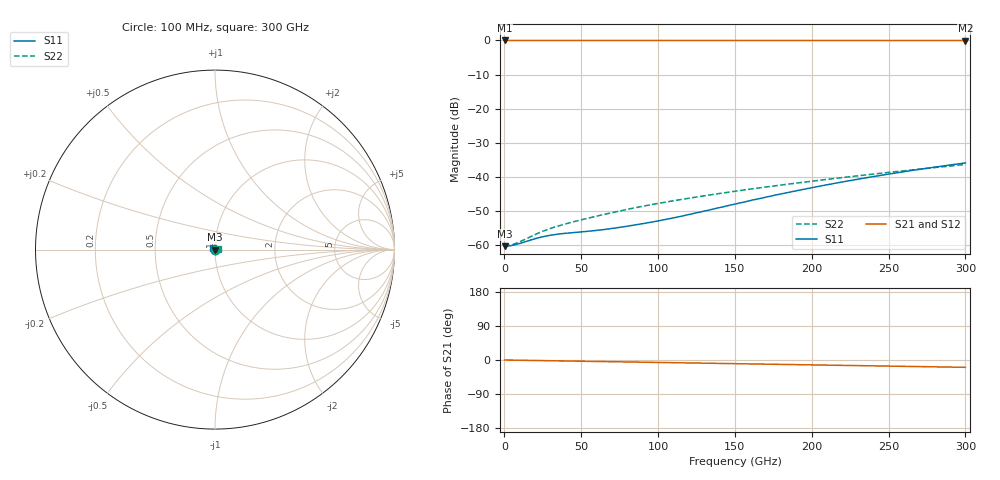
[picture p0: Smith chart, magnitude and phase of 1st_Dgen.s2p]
#  Hz  S  RI  R  50
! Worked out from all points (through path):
!   3000 points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, 100 MHz to 300 GHz, reference 50 ohm
!   highest |S21| = -0.01 dB at 200 MHz (marker M1); lowest = 0.0 dB at 300 GHz (marker M2)
!   group delay of S21, straight-line fit = 179 fs
!   lowest |S11| = -60.3 dB at 100 MHz (marker M3), VSWR 1.00, Z = 50.1 + j0.000377 ohm
!   |S11| at or under -10 dB: start of sweep to end of sweep
!   |S22| runs from -60.2 to -36.3 dB; largest |S21 - S12| = 0.00022
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1e8  0.00097 3.76e-06  0.999 -0.000114  0.999 -0.000114  0.000977 4.38e-06
2e8  0.00097 7.52e-06  0.999 -0.000229  0.999 -0.000229  0.000977 8.76e-06
3.5e9  0.000974 0.000131  0.999 -0.004  0.999 -0.004  0.000985 0.000153
7.1e9  0.000986 0.000262  0.999 -0.00812  0.999 -0.00812  0.00101 0.000306
1.04e10  0.001 0.000376  0.9989 -0.0119  0.9989 -0.0119  0.00105 0.00044
2.05e10  0.00106 0.000674  0.9986 -0.0233  0.9986 -0.0233  0.00122 0.000797
2.83e10  0.00109 0.000851  0.9982 -0.032  0.9982 -0.032  0.00138 0.00102
3.27e10  0.00109 0.000937  0.998 -0.0369  0.998 -0.037  0.00146 0.00113
3.76e10  0.00107 0.00103  0.9978 -0.0424  0.9978 -0.0424  0.00156 0.00124
5.01e10  0.000948 0.00125  0.997 -0.0564  0.997 -0.0564  0.00181 0.00152
6.11e10  0.000781 0.00147  0.9962 -0.0687  0.9962 -0.0687  0.00206 0.00176
7.21e10  0.000577 0.00169  0.9952 -0.081  0.9952 -0.081  0.00234 0.002
8.63e10  0.00026 0.00199  0.9936 -0.0968  0.9937 -0.0968  0.00278 0.00228
1.001e11  -0.00012 0.00227  0.9919 -0.1121  0.992 -0.1121  0.00326 0.0025
1.183e11  -0.000741 0.00266  0.9894 -0.1324  0.9894 -0.1324  0.00396 0.00275
1.501e11  -0.00212 0.00342  0.9838 -0.1675  0.9838 -0.1676  0.00539 0.00304
1.763e11  -0.00353 0.00412  0.9783 -0.1964  0.9783 -0.1964  0.00676 0.0031
2.001e11  -0.00502 0.00485  0.9725 -0.2225  0.9726 -0.2225  0.00814 0.00302
2.24e11  -0.0067 0.00569  0.966 -0.2485  0.9661 -0.2486  0.00966 0.00278
2.501e11  -0.00876 0.00672  0.9582 -0.2768  0.9582 -0.277  0.0115 0.00231
2.756e11  -0.011 0.00787  0.9496 -0.3042  0.9496 -0.3044  0.0133 0.00164
3e11  -0.0132 0.00909  0.9406 -0.3302  0.9407 -0.3304  0.0152 0.000775
